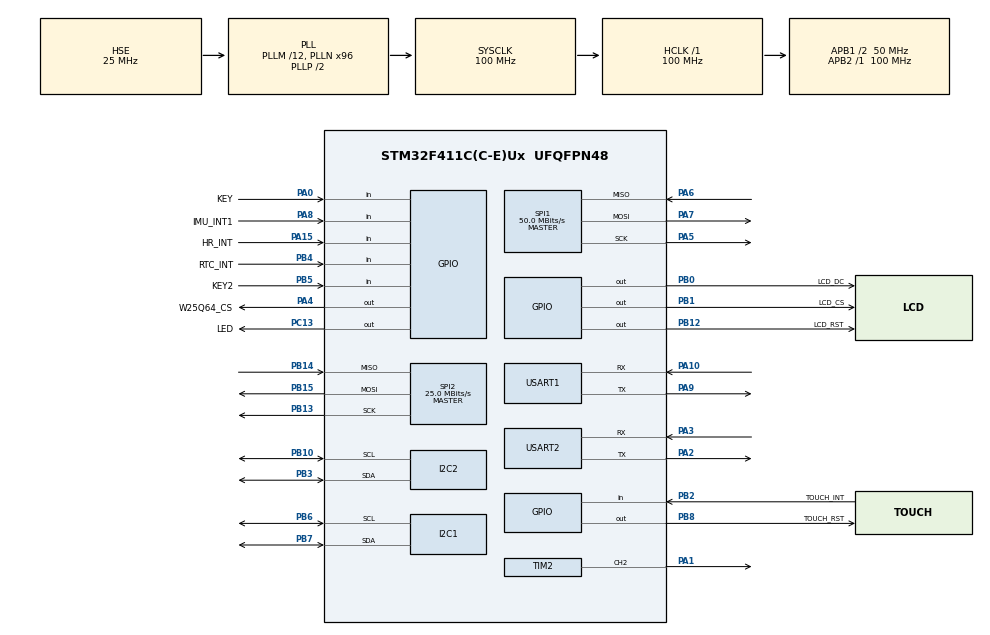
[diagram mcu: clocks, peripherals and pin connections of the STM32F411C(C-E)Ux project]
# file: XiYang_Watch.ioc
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Dma.Request0=SPI2_TX
Dma.Request1=SPI1_TX
Dma.SPI1_TX.1.Direction=DMA_MEMORY_TO_PERIPH
Dma.SPI1_TX.1.FIFOMode=DMA_FIFOMODE_DISABLE
Dma.SPI1_TX.1.Instance=DMA2_Stream3
Dma.SPI1_TX.1.MemDataAlignment=DMA_MDATAALIGN_BYTE
Dma.SPI1_TX.1.MemInc=DMA_MINC_ENABLE
Dma.SPI1_TX.1.Mode=DMA_NORMAL
Dma.SPI1_TX.1.PeriphDataAlignment=DMA_PDATAALIGN_BYTE
Dma.SPI1_TX.1.PeriphInc=DMA_PINC_DISABLE
Dma.SPI1_TX.1.Priority=DMA_PRIORITY_MEDIUM
Dma.SPI2_TX.0.Direction=DMA_MEMORY_TO_PERIPH
Dma.SPI2_TX.0.FIFOMode=DMA_FIFOMODE_DISABLE
Dma.SPI2_TX.0.Instance=DMA1_Stream4
Dma.SPI2_TX.0.MemDataAlignment=DMA_MDATAALIGN_BYTE
Dma.SPI2_TX.0.MemInc=DMA_MINC_ENABLE
Dma.SPI2_TX.0.Mode=DMA_NORMAL
Dma.SPI2_TX.0.PeriphDataAlignment=DMA_PDATAALIGN_BYTE
Dma.SPI2_TX.0.PeriphInc=DMA_PINC_DISABLE
Dma.SPI2_TX.0.Priority=DMA_PRIORITY_MEDIUM
FREERTOS.Tasks01=defaultTask,24,128,StartDefaultTask,Default,NULL,Dynamic,NULL,NULL
Mcu.Family=STM32F4
Mcu.Name=STM32F411C(C-E)Ux
Mcu.Package=UFQFPN48
NVIC.DMA1_Stream4_IRQn=true\:5\:0\:false\:false\:true\:true\:false\:true\:true
NVIC.DMA2_Stream3_IRQn=true\:5\:0\:false\:false\:true\:true\:false\:true\:true
NVIC.PriorityGroup=NVIC_PRIORITYGROUP_4
NVIC.TIM5_IRQn=true\:15\:0\:false\:false\:true\:false\:false\:true\:true
NVIC.TimeBase=TIM5_IRQn
NVIC.TimeBaseIP=TIM5
PA0-WKUP.GPIO_Label=KEY
PA0-WKUP.GPIO_PuPd=GPIO_PULLUP
PA0-WKUP.Signal=GPIO_Input
PA1.Signal=S_TIM2_CH2
PA10.Mode=Asynchronous
PA10.Signal=USART1_RX
PA13.Mode=Serial_Wire
PA13.Signal=SYS_JTMS-SWDIO
PA14.Mode=Serial_Wire
PA14.Signal=SYS_JTCK-SWCLK
PA15.GPIO_Label=HR_INT
PA15.Signal=GPIO_Input
PA2.Mode=Asynchronous
PA2.Signal=USART2_TX
PA3.Mode=Asynchronous
PA3.Signal=USART2_RX
PA4.GPIO_Label=W25Q64_CS
PA4.PinState=GPIO_PIN_SET
PA4.Signal=GPIO_Output
PA5.Mode=Full_Duplex_Master
PA5.Signal=SPI1_SCK
PA6.Mode=Full_Duplex_Master
PA6.Signal=SPI1_MISO
PA7.Mode=Full_Duplex_Master
PA7.Signal=SPI1_MOSI
PA8.GPIO_Label=IMU_INT1
PA8.Signal=GPIO_Input
PA9.Mode=Asynchronous
PA9.Signal=USART1_TX
PB0.GPIO_Label=LCD_DC
PB0.GPIO_Speed=GPIO_SPEED_FREQ_VERY_HIGH
PB0.Signal=GPIO_Output
PB1.GPIO_Label=LCD_CS
PB1.GPIO_Speed=GPIO_SPEED_FREQ_VERY_HIGH
PB1.PinState=GPIO_PIN_SET
PB1.Signal=GPIO_Output
PB10.Mode=I2C
PB10.Signal=I2C2_SCL
PB12.GPIO_Label=LCD_RST
PB12.GPIO_Speed=GPIO_SPEED_FREQ_VERY_HIGH
PB12.PinState=GPIO_PIN_SET
PB12.Signal=GPIO_Output
PB13.Mode=Full_Duplex_Master
PB13.Signal=SPI2_SCK
PB14.Mode=Full_Duplex_Master
PB14.Signal=SPI2_MISO
PB15.Mode=Full_Duplex_Master
PB15.Signal=SPI2_MOSI
PB2.GPIO_Label=TOUCH_INT
PB2.Signal=GPIO_Input
PB3.Mode=I2C
PB3.Signal=I2C2_SDA
PB4.GPIO_Label=RTC_INT
PB4.Signal=GPIO_Input
PB5.GPIO_Label=KEY2
PB5.Signal=GPIO_Input
PB6.Mode=I2C
PB6.Signal=I2C1_SCL
PB7.Mode=I2C
PB7.Signal=I2C1_SDA
PB8.GPIO_Label=TOUCH_RST
PB8.PinState=GPIO_PIN_SET
PB8.Signal=GPIO_Output
PC13-ANTI_TAMP.GPIO_Label=LED
PC13-ANTI_TAMP.PinState=GPIO_PIN_SET
PC13-ANTI_TAMP.Signal=GPIO_Output
PC14-OSC32_IN.Mode=LSE-External-Oscillator
PC14-OSC32_IN.Signal=RCC_OSC32_IN
PC15-OSC32_OUT.Mode=LSE-External-Oscillator
PC15-OSC32_OUT.Signal=RCC_OSC32_OUT
PH0\ -\ OSC_IN.Mode=HSE-External-Oscillator
PH0\ -\ OSC_IN.Signal=RCC_OSC_IN
PH1\ -\ OSC_OUT.Mode=HSE-External-Oscillator
PH1\ -\ OSC_OUT.Signal=RCC_OSC_OUT
ProjectManager.HeapSize=0x200
ProjectManager.StackSize=0x400
ProjectManager.TargetToolchain=MDK-ARM V5.32
RCC.48MHZClocksFreq_Value=50000000
RCC.AHBFreq_Value=100000000
RCC.APB1CLKDivider=RCC_HCLK_DIV2
RCC.APB1Freq_Value=50000000
RCC.APB1TimFreq_Value=100000000
RCC.APB2Freq_Value=100000000
RCC.APB2TimFreq_Value=100000000
RCC.CortexFreq_Value=100000000
RCC.HCLKFreq_Value=100000000
RCC.HSE_VALUE=25000000
RCC.HSI_VALUE=16000000
RCC.PLLM=12
RCC.PLLN=96
RCC.PLLSourceVirtual=RCC_PLLSOURCE_HSE
RCC.SYSCLKFreq_VALUE=100000000
RCC.SYSCLKSource=RCC_SYSCLKSOURCE_PLLCLK
RCC.VCOOutputFreq_Value=200000000
SH.S_TIM2_CH2.0=TIM2_CH2,PWM Generation2 CH2
SPI1.BaudRatePrescaler=SPI_BAUDRATEPRESCALER_2
SPI1.CalculateBaudRate=50.0 MBits/s
SPI1.Direction=SPI_DIRECTION_2LINES
SPI1.Mode=SPI_MODE_MASTER
SPI1.VirtualType=VM_MASTER
SPI2.BaudRatePrescaler=SPI_BAUDRATEPRESCALER_2
SPI2.CLKPhase=SPI_PHASE_1EDGE
SPI2.CLKPolarity=SPI_POLARITY_LOW
SPI2.CalculateBaudRate=25.0 MBits/s
SPI2.Direction=SPI_DIRECTION_2LINES
SPI2.Mode=SPI_MODE_MASTER
SPI2.VirtualType=VM_MASTER
TIM2.Channel-PWM\ Generation2\ CH2=TIM_CHANNEL_2
TIM2.Period=99
TIM2.Prescaler=999
TIM2.Pulse-PWM\ Generation2\ CH2=50
USART1.VirtualMode=VM_ASYNC
USART2.VirtualMode=VM_ASYNC
VP_FREERTOS_VS_CMSIS_V2.Mode=CMSIS_V2
VP_SYS_VS_tim5.Mode=TIM5
VP_TIM2_VS_ClockSourceINT.Mode=Internal
board=custom

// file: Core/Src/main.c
/* USER CODE BEGIN Header */
/**
  ******************************************************************************
  * @file           : main.c
  * @brief          : Main program body
  ******************************************************************************
  * @attention
  *
  * Copyright (c) 2026 STMicroelectronics.
  * All rights reserved.
  *
  * This software is licensed under terms that can be found in the LICENSE file
  * in the root directory of this software component.
  * If no LICENSE file comes with this software, it is provided AS-IS.
  *
  ******************************************************************************
  */
/* USER CODE END Header */
#include "main.h"
#include "cmsis_os.h"
#include "i2c.h"
#include "spi.h"
#include "tim.h"
#include "usart.h"
#include "gpio.h"

/* USER CODE BEGIN Includes */
#include "string.h"
#include "lcd_st7789.h"
#include "lvgl.h"
/* USER CODE END Includes */

void SystemClock_Config(void);
void MX_FREERTOS_Init(void);

int main(void)
{

  /* MCU Configuration--------------------------------------------------------*/

  /* Reset of all peripherals, Initializes the Flash interface and the Systick. */
  HAL_Init();

  /* Configure the system clock */
  SystemClock_Config();

  /* Initialize all configured peripherals */
  MX_GPIO_Init();
  MX_I2C1_Init();
  MX_I2C2_Init();
  MX_SPI1_Init();
  MX_SPI2_Init();
  MX_TIM2_Init();
  MX_USART1_UART_Init();
  MX_USART2_UART_Init();
  /* USER CODE BEGIN 2 */
	uint8_t ch[] = "XiYangWatch\r\n";
	HAL_UART_Transmit(&huart2,ch,strlen((char *)ch),1000);

	ST7789_SetBacklight(80);

	ST7789_Init();
	ST7789_Fill(COLOR_BLACK);

  /* USER CODE END 2 */

  /* Init scheduler */
  osKernelInitialize();  /* Call init function for freertos objects (in cmsis_os2.c) */
  MX_FREERTOS_Init();

  /* Start scheduler */
  osKernelStart();

  /* We should never get here as control is now taken by the scheduler */

  /* Infinite loop */
  while (1)
  {

  }
}

void SystemClock_Config(void)
{
  RCC_OscInitTypeDef RCC_OscInitStruct = {0};
  RCC_ClkInitTypeDef RCC_ClkInitStruct = {0};

  /** Configure the main internal regulator output voltage
  */
  __HAL_RCC_PWR_CLK_ENABLE();
  __HAL_PWR_VOLTAGESCALING_CONFIG(PWR_REGULATOR_VOLTAGE_SCALE1);

  /** Initializes the RCC Oscillators according to the specified parameters
  * in the RCC_OscInitTypeDef structure.
  */
  RCC_OscInitStruct.OscillatorType = RCC_OSCILLATORTYPE_HSE;
  RCC_OscInitStruct.HSEState = RCC_HSE_ON;
  RCC_OscInitStruct.PLL.PLLState = RCC_PLL_ON;
  RCC_OscInitStruct.PLL.PLLSource = RCC_PLLSOURCE_HSE;
  RCC_OscInitStruct.PLL.PLLM = 12;
  RCC_OscInitStruct.PLL.PLLN = 96;
  RCC_OscInitStruct.PLL.PLLP = RCC_PLLP_DIV2;
  RCC_OscInitStruct.PLL.PLLQ = 4;
  if (HAL_RCC_OscConfig(&RCC_OscInitStruct) != HAL_OK)
  {
    Error_Handler();
  }

  /** Initializes the CPU, AHB and APB buses clocks
  */
  RCC_ClkInitStruct.ClockType = RCC_CLOCKTYPE_HCLK|RCC_CLOCKTYPE_SYSCLK
                              |RCC_CLOCKTYPE_PCLK1|RCC_CLOCKTYPE_PCLK2;
  RCC_ClkInitStruct.SYSCLKSource = RCC_SYSCLKSOURCE_PLLCLK;
  RCC_ClkInitStruct.AHBCLKDivider = RCC_SYSCLK_DIV1;
  RCC_ClkInitStruct.APB1CLKDivider = RCC_HCLK_DIV2;
  RCC_ClkInitStruct.APB2CLKDivider = RCC_HCLK_DIV1;

  if (HAL_RCC_ClockConfig(&RCC_ClkInitStruct, FLASH_LATENCY_3) != HAL_OK)
  {
    Error_Handler();
  }
}

void HAL_TIM_PeriodElapsedCallback(TIM_HandleTypeDef *htim)
{
  if (htim->Instance == TIM5)
  {
    HAL_IncTick();
    lv_tick_inc(1);
  }
}

void Error_Handler(void)
{
  __disable_irq();
  while (1)
  {
  }
}

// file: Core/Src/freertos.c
/* USER CODE BEGIN Header */
/**
  ******************************************************************************
  * File Name          : freertos.c
  * Description        : Code for freertos applications
  ******************************************************************************
  * @attention
  *
  * Copyright (c) 2026 STMicroelectronics.
  * All rights reserved.
  *
  * This software is licensed under terms that can be found in the LICENSE file
  * in the root directory of this software component.
  * If no LICENSE file comes with this software, it is provided AS-IS.
  *
  ******************************************************************************
  */
/* USER CODE END Header */

#include "FreeRTOS.h"
#include "task.h"
#include "main.h"
#include "cmsis_os.h"

/* USER CODE BEGIN Includes */
#include "lvgl.h"
#include "lv_port_disp.h"
#include "lv_port_indev.h"
#include "app.h"
#include "Framework/gesture.h"
#include "diag_task.h"
#include "power_task.h"
#include "i2c_sens_task.h"
#include "shared_memory.h"
/* USER CODE END Includes */

/* Definitions for defaultTask */
osThreadId_t defaultTaskHandle;
const osThreadAttr_t defaultTask_attributes = {
  .name = "defaultTask",
  .stack_size = 128 * 4,
  .priority = (osPriority_t) osPriorityNormal,
};

/* Definitions for LvglTask */
osThreadId_t lvglTaskHandle;
const osThreadAttr_t lvglTask_attributes = {
  .name = "lvglTask",
  .stack_size = 3072 * 4,
  .priority = (osPriority_t) osPriorityNormal,
};

/* Definitions for DiagTask */
osThreadId_t diagTaskHandle;
const osThreadAttr_t diagTask_attributes = {
  .name = "diagTask",
  .stack_size = 64 * 4,
  .priority = (osPriority_t) osPriorityLow,
};

/* Definitions for PowerTask */
osThreadId_t powerTaskHandle;
const osThreadAttr_t powerTask_attributes = {
  .name = "powerTask",
  .stack_size = 128 * 4,
  .priority = (osPriority_t) osPriorityLow,
};

/* Definitions for I2CsensTask */
osThreadId_t I2CsensTaskHandle;
const osThreadAttr_t I2CsensTask_attributes = {
  .name = "I2CsensTask",
  .stack_size = 256 * 4,                              /* 1KB, 5 个传感器调用深 */
  .priority = (osPriority_t) osPriorityHigh,           /* 同 LvglTask，保证触摸跟手 */
};

void StartDefaultTask(void *argument);
void StartLvglTask(void *argument);

void MX_FREERTOS_Init(void); /* (MISRA C 2004 rule 8.1) */

void MX_FREERTOS_Init(void) {

  /* Create the thread(s) */
  /* creation of defaultTask */
  defaultTaskHandle = osThreadNew(StartDefaultTask, NULL, &defaultTask_attributes);

  /* USER CODE BEGIN RTOS_THREADS */
  /* add threads, ... */
  lvglTaskHandle = osThreadNew(StartLvglTask, NULL, &lvglTask_attributes);
  diagTaskHandle = osThreadNew(DiagTask, NULL, &diagTask_attributes);
  powerTaskHandle = osThreadNew(PowerTask, NULL, &powerTask_attributes);
  I2CsensTaskHandle = osThreadNew(I2CSensTask, NULL, &I2CsensTask_attributes);
  /* USER CODE END RTOS_THREADS */

}

void StartDefaultTask(void *argument)
{
  for(;;)
  {
    osDelay(1);
  }
}

void StartLvglTask(void *argument)
{
  lv_init();
  lv_port_disp_init();
  lv_port_indev_init();

  app_init();

  for(;;)
  {
    /* 触摸手势 → 页面导航（必须在 lv_timer_handler 之前，否则 LVGL click 事件会先于手势触发）
       手势已由 I2CSensTask 读取并写入 g_shm.touch.gesture */
    uint8_t raw = g_shm.touch.gesture;
    gesture_t g = GESTURE_NONE;
    switch (raw) {
        case 0x01: g = GESTURE_DOWN;  break;
        case 0x02: g = GESTURE_UP;    break;
        case 0x03: g = GESTURE_LEFT;  break;
        case 0x04: g = GESTURE_RIGHT; break;
        case 0x0C: g = GESTURE_LONGPRESS; break;
        /* 0x05 (CLICK) 不进入手势系统，与 PC 模拟器一致，由 LVGL 事件处理 */
    }
    gesture_feed(g);

    lv_timer_handler();
    app_loop();

    /* 等 I2CSensTask 通知: bit0=1→新数据, 灯亮立刻醒; 超时5ms也醒 */
    osThreadFlagsWait(0x01, osFlagsWaitAny, 5);
  }
}
